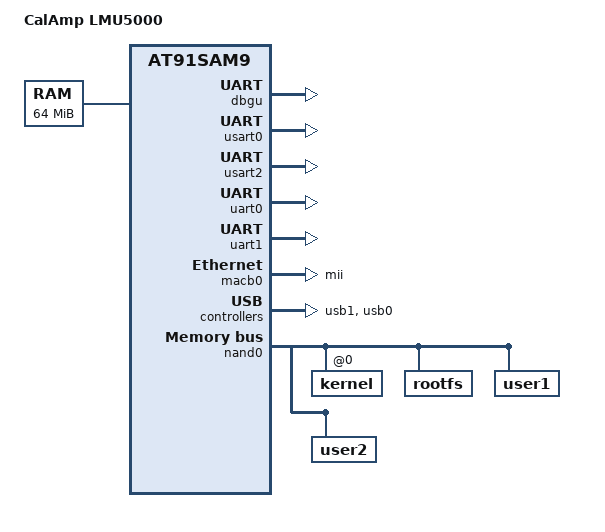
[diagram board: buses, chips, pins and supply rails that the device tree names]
// SPDX-License-Identifier: GPL-2.0-only
/*
 * lmu5000.dst - Device Tree file for CalAmp LMU5000 board
 *
 * Copyright (C) 2013 Adam Porter <porter.adam@gmail.com>
 */

/dts-v1/;
#include "at91sam9g20.dtsi"

/ {
	model = "CalAmp LMU5000";
	compatible = "calamp,lmu5000", "atmel,at91sam9g20", "atmel,at91sam9";

	chosen {
		bootargs = "mem=64M console=ttyS0,115200 rootfstype=jffs2";
	};

	memory {
		reg = <0x20000000 0x4000000>;
	};

	clocks {
		#address-cells = <1>;
		#size-cells = <1>;
		ranges;

		main_clock: clock@0 {
			compatible = "atmel,osc", "fixed-clock";
			clock-frequency = <18432000>;
		};
	};

	ahb {
		apb {
			pinctrl@fffff400 {
				board {
					pinctrl_pck0_as_mck: pck0_as_mck {
						atmel,pins =
							<2 1 0x2 0x0>;	/* PC1 periph B */
					};
				};
			};

			dbgu: serial@fffff200 {
				status = "okay";
			};

			usart0: serial@fffb0000 {
				pinctrl-0 =
					<&pinctrl_usart0
					 &pinctrl_usart0_rts
					 &pinctrl_usart0_cts
					 &pinctrl_usart0_dtr_dsr
					 &pinctrl_usart0_dcd
					 &pinctrl_usart0_ri>;
				status = "okay";
			};

			usart2: serial@fffb8000 {
				status = "okay";
			};

			uart0: serial@fffd4000 {
				status = "okay";
			};

			uart1: serial@fffd8000 {
				status = "okay";
			};

			macb0: ethernet@fffc4000 {
				phy-mode = "mii";
				status = "okay";
			};

			usb1: gadget@fffa4000 {
				atmel,vbus-gpio = <&pioC 5 0>;
				status = "okay";
			};

			ssc0: ssc@fffbc000 {
				status = "okay";
				pinctrl-0 = <&pinctrl_ssc0_tx>;
			};

			watchdog@fffffd40 {
				status = "okay";
			};
		};

		nand0: nand@40000000 {
			nand-bus-width = <8>;
			nand-ecc-mode = "soft";
			nand-on-flash-bbt;
			status = "okay";

			kernel@0 {
				label = "kernel";
				reg = <0x0 0x400000>;
			};

			rootfs@400000 {
				label = "rootfs";
				reg = <0x400000 0x3C00000>;
			};

			user1@4000000 {
				label = "user1";
				reg = <0x4000000 0x2000000>;
			};

			user2@6000000 {
				label = "user2";
				reg = <0x6000000 0x2000000>;
			};
		};

		usb0: ohci@500000 {
			num-ports = <2>;
			status = "okay";
		};
	};
};
